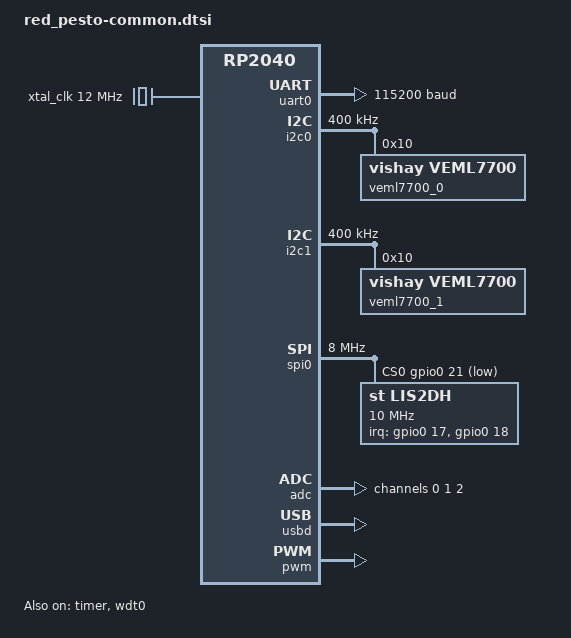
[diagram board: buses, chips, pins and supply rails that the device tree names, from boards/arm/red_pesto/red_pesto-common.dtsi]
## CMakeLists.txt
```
# SPDX-License-Identifier: Apache-2.0

cmake_minimum_required(VERSION 3.20.0)
list(APPEND BOARD_ROOT ${CMAKE_CURRENT_SOURCE_DIR})
find_package(Zephyr REQUIRED HINTS $ENV{ZEPHYR_BASE})
project(red_pesto)

target_sources(app PRIVATE src/main.c)
```

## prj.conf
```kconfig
CONFIG_GPIO=y
CONFIG_I2C=y
CONFIG_SPI=y
CONFIG_SENSOR=y
CONFIG_PWM=y
CONFIG_ADC=y
CONFIG_STDOUT_CONSOLE=y

# debug
CONFIG_DEBUG=y
CONFIG_LOG=y
CONFIG_SENSOR_LOG_LEVEL_DBG=y
CONFIG_CBPRINTF_FP_SUPPORT=y
CONFIG_PWM_LOG_LEVEL_DBG=y
```

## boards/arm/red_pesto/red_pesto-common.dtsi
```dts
/*
 * Copyright (c) 2021 Yonatan Schachter
 *
 * SPDX-License-Identifier: Apache-2.0
 */

#include <freq.h>

#include <rpi_pico/rp2040.dtsi>
#include "red_pesto-pinctrl.dtsi"
#include <zephyr/dt-bindings/pwm/pwm.h>

#include <zephyr/dt-bindings/i2c/i2c.h>


/ {
	chosen {
		zephyr,sram = &sram0;
		zephyr,flash = &flash0;
		zephyr,flash-controller = &ssi;
		zephyr,console = &uart0;
		zephyr,shell-uart = &uart0;
		zephyr,code-partition = &code_partition;
	};

	xtal_clk: xtal-clk {
		compatible = "fixed-clock";
		clock-frequency = <12000000>;
		#clock-cells = <0>;
	};

	aliases {
		watchdog0 = &wdt0;
		veml7700-left = &veml7700_0;
		veml7700-right = &veml7700_1;
	};
};

&flash0 {
	reg = <0x10000000 DT_SIZE_M(2)>;

	partitions {
		compatible = "fixed-partitions";
		#address-cells = <1>;
		#size-cells = <1>;

		/* Reserved memory for the second stage bootloader */
		second_stage_bootloader: partition@0 {
			label = "second_stage_bootloader";
			reg = <0x00000000 0x100>;
			read-only;
		};

		/*
		 * Usable flash. Starts at 0x100, after the bootloader. The partition
		 * size is 2MB minus the 0x100 bytes taken by the bootloader.
		 */
		code_partition: partition@100 {
			label = "code-partition";
			reg = <0x100 (DT_SIZE_M(2) - 0x100)>;
			read-only;
		};
	};
};

&uart0 {
	current-speed = <115200>;
	status = "okay";
	pinctrl-0 = <&uart0_default>;
	pinctrl-names = "default";
};

&gpio0 {
	status = "okay";
};

&i2c0 {
	clock-frequency = <I2C_BITRATE_FAST>;
	status = "okay";
	pinctrl-0 = <&i2c0_rp>;
	pinctrl-names = "default";
	veml7700_0: veml7700_0@10 {
		compatible = "vishay,veml7700";
		reg = <0x10>;
		status = "okay";
	};
};

&i2c1 {
	clock-frequency = <I2C_BITRATE_FAST>;
	status = "okay";
	pinctrl-0 = <&i2c1_rp>;
	pinctrl-names = "default";
	veml7700_1: veml7700_1@10 {
		compatible = "vishay,veml7700";
		reg = <0x10>;
		status = "okay";
	};
};

&spi0 {
	clock-frequency = <DT_FREQ_M(8)>;
	cs-gpios = <&gpio0 21 GPIO_ACTIVE_LOW>;
	status = "okay";
	pinctrl-0 = <&spi0_default>;
	pinctrl-names = "default";
	lis2dh: lis2dh@0 {
		compatible = "st,lis2dh";
		reg = <0>;
		spi-max-frequency = <10000000>;
		spi-cpol;
		spi-cpha;
		irq-gpios = <&gpio0 17 GPIO_ACTIVE_HIGH>, <&gpio0 18 GPIO_ACTIVE_HIGH>;
	};
};

&timer {
	status = "okay";
};

&wdt0 {
	status = "okay";
};

&adc {
	status = "okay";
	pinctrl-0 = <&adc_default>;
	pinctrl-names = "default";
	#address-cells = <1>;
	#size-cells = <0>;

	channel@0 {
		reg = <0>;
		zephyr,gain = "ADC_GAIN_1";
		zephyr,reference = "ADC_REF_INTERNAL";
		zephyr,acquisition-time = <ADC_ACQ_TIME_DEFAULT>;
		zephyr,resolution = <12>;
	};

	channel@1 {
		reg = <1>;
		zephyr,gain = "ADC_GAIN_1";
		zephyr,reference = "ADC_REF_INTERNAL";
		zephyr,acquisition-time = <ADC_ACQ_TIME_DEFAULT>;
		zephyr,resolution = <12>;
	};

	channel@2 {
		reg = <2>;
		zephyr,gain = "ADC_GAIN_1";
		zephyr,reference = "ADC_REF_INTERNAL";
		zephyr,acquisition-time = <ADC_ACQ_TIME_DEFAULT>;
		zephyr,resolution = <12>;
	};
};

zephyr_udc0: &usbd {
	status = "okay";
};

&pwm {
	status = "okay";
	pinctrl-0 = <&pwm_ch6b_default>;
	pinctrl-names = "default";
	divider-frac-6 = <0>;
	divider-int-6 = <16>;
};

&vreg {
	regulator-always-on;
	regulator-allowed-modes = <REGULATOR_RPI_PICO_MODE_NORMAL>;
};

pico_spi: &spi0 {};
```

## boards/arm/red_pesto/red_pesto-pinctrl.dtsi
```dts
/*
 * Copyright (c) 2021, Yonatan Schachter
 * SPDX-License-Identifier: Apache-2.0
 */

#include <zephyr/dt-bindings/pinctrl/rpi-pico-rp2040-pinctrl.h>

&pinctrl {
	uart0_default: uart0_default {
		group1 {
			pinmux = <UART0_TX_P0>;
		};
		group2 {
			pinmux = <UART0_RX_P1>;
			input-enable;
		};
	};

	i2c0_rp: i2c0_rp {
		group1 {
			pinmux = <I2C0_SDA_P24>, <I2C0_SCL_P25>;
			input-enable;
			input-schmitt-enable;
		};
	};

	i2c1_rp: i2c1_rp {
		group1 {
			pinmux = <I2C1_SDA_P14>, <I2C1_SCL_P15>;
			input-enable;
			input-schmitt-enable;
		};
	};

	spi0_default: spi0_default {
		group1 {
			pinmux = <SPI0_SCK_P18>, <SPI0_TX_P19>;
		};
		group2 {
			pinmux = <SPI0_RX_P20>;
			input-enable;
		};
	};

	pwm_ch6b_default: pwm_ch6b_default {
		group1 {
			pinmux = <PWM_6B_P13>;
		};
	};

	adc_default: adc_default {
		group1 {
			pinmux = <ADC_CH0_P26>, <ADC_CH1_P27>, <ADC_CH2_P28>, <ADC_CH3_P29>;
			input-enable;
		};
	};
};
```

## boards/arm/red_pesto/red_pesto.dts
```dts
/*
 * Copyright (c) 2021 Yonatan Schachter
 *
 * SPDX-License-Identifier: Apache-2.0
 */

/dts-v1/;

#include "red_pesto-common.dtsi"
#include <zephyr/dt-bindings/input/input-event-codes.h>

/ {
	leds {
		compatible = "gpio-leds";
		led_green: led_green {
			gpios = <&gpio0 2 GPIO_ACTIVE_HIGH>;
			label = "LED Green";
		};
		led_red: led_red {
			gpios = <&gpio0 3 GPIO_ACTIVE_HIGH>;
			label = "LED Red";
		};
	};

	buttons {
		compatible = "gpio-keys";
		button0: button_0 {
			gpios = <&gpio0 9 (GPIO_PULL_UP | GPIO_ACTIVE_LOW)>;
			label = "Push Button 1";
			zephyr,code = <INPUT_KEY_0>;
		};
	};

	pwm_leds {
	compatible = "pwm-leds";
		pwm_led0: pwm_led_0 {
			status = "okay";
			pwms = <&pwm 13 PWM_MSEC(20) PWM_POLARITY_NORMAL>;
			label = "PWM_LED";
		};
	};

	vbatt: vbatt {
		compatible = "voltage-divider";
		io-channels = <&adc 2>;
		output-ohms = <16000>;
		full-ohms = <(15000 + 16000)>;
	};

	aliases {
		led-green = &led_green;
		led-red = &led_red;
		pwm-led0 = &pwm_led0;
		sw0 = &button0;
	};

	zephyr,user {
		io-channels = <&adc 0>, <&adc 1>;
	};
};
```

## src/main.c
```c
/*
 * Copyright (c) 2016 Intel Corporation
 *
 * SPDX-License-Identifier: Apache-2.0
 */

#include <zephyr/kernel.h>
#include <zephyr/device.h>
#include <zephyr/drivers/gpio.h>
#include <zephyr/drivers/sensor.h>
#include <zephyr/drivers/pwm.h>
#include <zephyr/drivers/adc.h>
#include <zephyr/drivers/adc/voltage_divider.h>

/* 1000 msec = 1 sec */
#define SLEEP_TIME_MS   1000

/* The devicetree node identifiers*/
#define LED_GREEN_NODE DT_ALIAS(led_green)
#define LED_RED_NODE DT_ALIAS(led_red)
#define VEML7700_LEFT_NODE DT_ALIAS(veml7700_left)
#define VEML7700_RIGHT_NODE DT_ALIAS(veml7700_right)
#define LIS2DH_NODE DT_NODELABEL(lis2dh)
#define PWM_LED_NODE DT_ALIAS(pwm_led0)
#define VBAT_DIVIDER_NODE DT_NODELABEL(vbatt)
#define SW0_NODE DT_ALIAS(sw0)

/*
 * A build error on this line means your board is unsupported.
 * See the sample documentation for information on how to fix this.
 */
static const struct gpio_dt_spec led_green = GPIO_DT_SPEC_GET(LED_GREEN_NODE, gpios);
static const struct gpio_dt_spec led_red = GPIO_DT_SPEC_GET(LED_RED_NODE, gpios);
const struct device *const veml7700_left = DEVICE_DT_GET(VEML7700_LEFT_NODE);
const struct device *const veml7700_right = DEVICE_DT_GET(VEML7700_RIGHT_NODE);
const struct device *const lis2dh = DEVICE_DT_GET(LIS2DH_NODE);
static const struct pwm_dt_spec pwm_led0 = PWM_DT_SPEC_GET(PWM_LED_NODE);
static const struct voltage_divider_dt_spec adc_vbat = VOLTAGE_DIVIDER_DT_SPEC_GET(VBAT_DIVIDER_NODE);
static const struct adc_dt_spec adc_cc1 = ADC_DT_SPEC_GET_BY_IDX(DT_PATH(zephyr_user), 0);
static const struct adc_dt_spec adc_cc2 = ADC_DT_SPEC_GET_BY_IDX(DT_PATH(zephyr_user), 1);
static const struct gpio_dt_spec button = GPIO_DT_SPEC_GET_OR(SW0_NODE, gpios, {0});
static struct gpio_callback button_cb_data;

void button_pressed(const struct device *dev, struct gpio_callback *cb, uint32_t pins)
{
	printk("Button pressed at %" PRIu32 "\n", k_cycle_get_32());
}

int meas_adc_v(const struct adc_dt_spec *spec, int32_t *v)
{
	int ret;
	int32_t sample_buffer = 0;

	/* Structure defining an ADC sampling sequence */
	struct adc_sequence sequence = {
		.buffer = &sample_buffer,
		/* buffer size in bytes, not number of samples */
		.buffer_size = sizeof(sample_buffer),
	};
	adc_sequence_init_dt(spec, &sequence);

	ret = adc_read_dt(spec, &sequence);
	if (ret != 0) {
		return ret;
	}
	*v = sample_buffer;
	ret = adc_raw_to_millivolts_dt(spec, v);
	if (ret != 0) {
		return ret;
	}
	return 0;
}

int meas_divider_v(const struct voltage_divider_dt_spec *spec, int32_t *v)
{
	int ret;
	meas_adc_v(&spec->port, v);
	ret = voltage_divider_scale_dt(spec, v);
	if (ret != 0) {
		return ret;
	}
	return 0;
}

int main(void)
{
	int ret;

	ret = pwm_set_dt(&pwm_led0, PWM_KHZ(20), PWM_KHZ(20)/20U);
		if (ret < 0) {
		return 0;
	}

	if (!gpio_is_ready_dt(&led_green) || !gpio_is_ready_dt(&led_red)) {
		return 0;
	}

	ret = gpio_pin_configure_dt(&led_green, GPIO_OUTPUT_ACTIVE);
	ret = gpio_pin_configure_dt(&led_red, GPIO_OUTPUT_INACTIVE);
	if (ret < 0) {
		return 0;
	}

	ret = gpio_pin_configure_dt(&button, GPIO_INPUT);
	ret = gpio_pin_interrupt_configure_dt(&button, GPIO_INT_EDGE_TO_ACTIVE);
	gpio_init_callback(&button_cb_data, button_pressed, BIT(button.pin));
	gpio_add_callback(button.port, &button_cb_data);

	ret = adc_channel_setup_dt(&adc_vbat.port);
	ret = adc_channel_setup_dt(&adc_cc1);
	ret = adc_channel_setup_dt(&adc_cc2);

	struct sensor_value val;
	struct sensor_value accel[3];
	int32_t bat_volt, cc1_volt, cc2_volt;
	while (1) {
		meas_divider_v(&adc_vbat, &bat_volt);
		printk("VBAT: %" PRId32 "mV\n", bat_volt);
		meas_adc_v(&adc_cc1, &cc1_volt);
		printk("CC1: %" PRId32 "mV\n", cc1_volt);
		meas_adc_v(&adc_cc2, &cc2_volt);
		printk("CC2: %" PRId32 "mV\n", cc2_volt);
		ret = sensor_sample_fetch(veml7700_left);
		ret = sensor_channel_get(veml7700_left, SENSOR_CHAN_LIGHT, &val);
		printk("VEML770-Left: %d\n", val.val1);
		ret = sensor_sample_fetch(veml7700_right);
		ret = sensor_channel_get(veml7700_right, SENSOR_CHAN_LIGHT, &val);
		printk("VEML770-Right: %d\n", val.val1);
		ret = sensor_sample_fetch(lis2dh);
		ret = sensor_channel_get(lis2dh, SENSOR_CHAN_ACCEL_XYZ, accel);
		printk("LIS2DH: %.2f %.2f %.2f\n", accel[0].val1 + accel[0].val2*0.000001,
			accel[1].val1 + accel[1].val2*0.000001,
			accel[2].val1 + accel[2].val2*0.000001);
		ret = gpio_pin_toggle_dt(&led_green);
		ret = gpio_pin_toggle_dt(&led_red);
		if (ret < 0) {
			return 0;
		}
		k_msleep(SLEEP_TIME_MS);
	}
	return 0;
}
```

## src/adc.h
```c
#pragma once
#include "hardware/adc.h"
#include "board.h"

void red_pesto_adc_init(){
  adc_init();
  adc_gpio_init(CC1_PIN);
  adc_gpio_init(CC2_PIN);
  adc_gpio_init(VBAT_PIN);
}
```

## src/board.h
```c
#pragma once
#define SPI_MOSI_PIN 19
#define SPI_MISO_PIN 20
#define SPI_CLK_PIN 18
#define SPI_CS_PIN 21

#define INT1_PIN 17
#define INT2_PIN 16
#define LED_GREEN_PIN 2
#define LED_RED_PIN 3
#define LED_POWER_PIN 13
#define BTN_PIN 9

#define I2C0_SDA_PIN 24
#define I2C0_SCL_PIN 25
#define CHRG_EN_PIN 10
#define STATUS_PIN 16
#define BQ_INT_PIN 11

#define I2C1_SDA_PIN 14
#define I2C1_SCL_PIN 15

#define CC1_PIN 26
#define CC2_PIN 27
#define CC1_ADC 0
#define CC2_ADC 1
#define VBAT_PIN 28
#define VBAT_ADC 2
```

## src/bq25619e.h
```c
#pragma once
#include "hardware/i2c.h"
#include "bq256xx_charger.h"
#include "cli.h"

#define VRD_USB_MIN 0.25f
#define VRD_USB_MAX 0.61f
#define VRD_15_MIN 0.7f
#define VRD_15_MAX 1.16f
#define VRD_30_MIN 1.31f
#define VRD_30_MAX 2.04f
#define VRA_MAX 0.15f

struct bq256xx_device bq25619e = {
  .i2c = i2c0,
  .dev_addr = 0x6A,
};

void red_pesto_bq25619e_init(){
  bq256xx_charger_reset(&bq25619e);
  bq256xx_hw_init(&bq25619e);
  bq256xx_get_state(&bq25619e, &bq25619e.state);
}

void bq_int_handler(){
  struct bq256xx_state tmp_state;
  bq256xx_get_state(&bq25619e, &tmp_state);
  if(tmp_state.online){
    if(!bq25619e.state.online){
      DEBUG_PRINT("Charging cable connected");
      const float conversion_factor =  3.3f / (1 << 12);
      adc_select_input(CC1_ADC);
      float cc1 = adc_read() * conversion_factor;
      adc_select_input(CC2_ADC);
      float cc2 = adc_read() * conversion_factor;
      float cc = cc1 > cc2 ? cc1 : cc2;
      if ((cc > VRD_USB_MIN) && (cc < VRD_USB_MAX)) {
        DEBUG_PRINT("vRd-USB (500mA)");
        bq256xx_set_input_curr_lim(&bq25619e, 500000);
      } else if ((cc > VRD_15_MIN) && (cc < VRD_15_MAX)) {
        DEBUG_PRINT("vRd-1.5");
        bq256xx_set_input_curr_lim(&bq25619e, 1500000);
      } else if ((cc > VRD_30_MIN) && (cc < VRD_30_MAX)) {
        DEBUG_PRINT("vRd-3.0");
        bq256xx_set_input_curr_lim(&bq25619e, 3000000);
      }
    }
    switch (tmp_state.chrg_stat)
    {
      case BQ256XX_CHRG_STAT_NOT_CHRGING:
        DEBUG_PRINT("Not charging");
        break;
      case BQ256XX_CHRG_STAT_PRECHRGING:
        DEBUG_PRINT("Precharging");
        break;
      case BQ256XX_CHRG_STAT_FAST_CHRGING:
        DEBUG_PRINT("Fast charging");
        break;
      case BQ256XX_CHRG_STAT_CHRG_TERM:
        DEBUG_PRINT("Charging termination");
        break;
    }
    const float conversion_factor = 6.4f / (1 << 12);
    adc_select_input(VBAT_ADC);
    DEBUG_PRINT("VBAT: %.2f V\n", adc_read() * conversion_factor);
  }else{
    if(bq25619e.state.online){
      DEBUG_PRINT("Charging cable disconnected");
    }
  }
  bq25619e.state = tmp_state;
}

void bq_enter_ship_mode(){
  bq256xx_set_ship_mode(&bq25619e);
}
```

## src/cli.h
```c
#pragma once
#include <stdarg.h>

#define EMBEDDED_CLI_IMPL
#include "embedded_cli.h"

#define CLI_PRINT_BUFFER_SIZE 512

static EmbeddedCli *cli;

void red_pesto_init_cli();
EmbeddedCli *getCliPointer();
void cli_printf(const char *format, ...);
static void writeCharToCli(EmbeddedCli *embeddedCli, char c);

#ifdef ENABLE_DEBUG_OUTPUT
#  define DEBUG_PRINT(msg, ...) cli_printf("[DEBUG] [%6.6f] " msg, to_us_since_boot(get_absolute_time())/1000000.0f, ##__VA_ARGS__);
#else
#  define DEBUG_PRINT(msg, ...)
#endif

void red_pesto_init_cli(){
    cli = embeddedCliNewDefault();
    void writeChar(EmbeddedCli *embeddedCli, char c);
    cli->writeChar = writeCharToCli;
    char c = (char)getchar_timeout_us(0);
    embeddedCliReceiveChar(cli, c);
}

EmbeddedCli *getCliPointer() {
    return cli;
}

// Function to encapsulate the 'embeddedCliPrint()' call with print formatting arguments (act like printf(), but keeps cursor at correct location).
// The 'embeddedCliPrint()' function does already add a linebreak ('\r\n') to the end of the print statement, so no need to add it yourself.
void cli_printf(const char *format, ...) {
    // Create a buffer to store the formatted string
    char buffer[CLI_PRINT_BUFFER_SIZE];

    // Format the string using snprintf
    va_list args;
    va_start(args, format);
    int length = vsnprintf(buffer, sizeof(buffer), format, args);
    va_end(args);

    // Check if string fitted in buffer else print error to stderr
    if (length < 0) {
        printf("Error formatting the string\r\n");
        return;
    }

    // Call embeddedCliPrint with the formatted string
    embeddedCliPrint(getCliPointer(), buffer);
}

static void writeCharToCli(EmbeddedCli *embeddedCli, char c) {
    putchar_raw(c);
}
```

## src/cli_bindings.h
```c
#pragma once
#include "pico/stdlib.h"
#include "pico/bootrom.h"

#include "cli.h"
#include "veml7700.h"
#include "bq25619e.h"

static void reboot2bootloader(EmbeddedCli *cli, char *args, void *context);
static void ship_mode(EmbeddedCli *cli, char *args, void *context);
static void get_als(EmbeddedCli *cli, char *args, void *context);
void red_pesto_cli_bindings(EmbeddedCli *embeddedCli);

static void reboot2bootloader(EmbeddedCli *cli, char *args, void *context) {
    reset_usb_boot(0, 0);
}

static void ship_mode(EmbeddedCli *cli, char *args, void *context) {
    bq_enter_ship_mode();
}

static void get_als(EmbeddedCli *cli, char *args, void *context) {
    cli_printf("%d", red_pesto_veml7700_get_average());
}

void red_pesto_cli_bindings(EmbeddedCli *embeddedCli){
  CliCommandBinding dfu_binding =
  {
      "usb_boot",
      "Reboot the device into BOOTSEL mode",
      false,
      NULL,
      reboot2bootloader
  };

  CliCommandBinding ship_binding =
  {
      "ship_mode",
      "Put bq25619e charger into ship mode",
      false,
      NULL,
      ship_mode
  };

  CliCommandBinding als_binding =
  {
      "get_als_data",
      "Get VEML7700 sensor data",
      false,
      NULL,
      get_als
  };
  embeddedCliAddBinding(embeddedCli, dfu_binding);
  embeddedCliAddBinding(embeddedCli, ship_binding);
  embeddedCliAddBinding(embeddedCli, als_binding);
}
```

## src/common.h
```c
#pragma once
#include "cli.h"

#ifdef ENABLE_DEBUG_OUTPUT
#  define DEBUG_PRINT(msg, ...) cli_printf("[DEBUG] [%6.6f] " msg, to_us_since_boot(get_absolute_time())/1000000.0f, ##__VA_ARGS__);
#else
#  define DEBUG_PRINT(msg, ...) 
#endif
```

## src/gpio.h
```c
#pragma once
#include "pico/stdlib.h"
#include "hardware/spi.h"

#include "board.h"

void red_pesto_gpio_init(gpio_irq_callback_t callback){
  spi_init(spi0, 8000 * 1000);
  spi_set_format(spi0,  // SPI instance
                 8,     // Number of bits per transfer
                 1,     // Polarity (CPOL)
                 1,     // Phase (CPHA)
                 SPI_MSB_FIRST);
  gpio_set_function(SPI_MISO_PIN, GPIO_FUNC_SPI);
  gpio_set_function(SPI_CLK_PIN, GPIO_FUNC_SPI);
  gpio_set_function(SPI_MOSI_PIN, GPIO_FUNC_SPI);
  gpio_pull_up(SPI_CS_PIN);

  gpio_init(LED_GREEN_PIN);
  gpio_set_dir(LED_GREEN_PIN, GPIO_OUT);
  gpio_put(LED_GREEN_PIN, 0);

  gpio_init(LED_RED_PIN);
  gpio_set_dir(LED_RED_PIN, GPIO_OUT);
  gpio_put(LED_RED_PIN, 0);

  // Chip select is active-low, so we'll initialise it to a driven-high state
  gpio_init(SPI_CS_PIN);
  gpio_set_dir(SPI_CS_PIN, GPIO_OUT);
  gpio_put(SPI_CS_PIN, 1);

  gpio_init(INT1_PIN);
  gpio_set_dir(INT1_PIN, GPIO_IN);
  gpio_pull_up(INT1_PIN);
  gpio_set_irq_enabled_with_callback(INT1_PIN, GPIO_IRQ_EDGE_RISE, true,
                                     callback);

  gpio_init(INT2_PIN);
  gpio_set_dir(INT2_PIN, GPIO_IN);
  gpio_pull_up(INT2_PIN);
  gpio_set_irq_enabled_with_callback(
      INT2_PIN, GPIO_IRQ_EDGE_RISE | GPIO_IRQ_EDGE_FALL, true, callback);

  gpio_init(BQ_INT_PIN);
  gpio_set_dir(BQ_INT_PIN, GPIO_IN);
  gpio_pull_up(BQ_INT_PIN);
  gpio_set_irq_enabled_with_callback(BQ_INT_PIN, GPIO_IRQ_EDGE_RISE, true,
                                     callback);

  gpio_init(CHRG_EN_PIN);
  gpio_set_dir(CHRG_EN_PIN, GPIO_OUT);
  gpio_put(CHRG_EN_PIN, false);

  gpio_init(BTN_PIN);
  gpio_set_dir(BTN_PIN, GPIO_IN);
  gpio_set_irq_enabled_with_callback(BTN_PIN, GPIO_IRQ_EDGE_RISE | GPIO_IRQ_EDGE_FALL, true,
                                      callback);
}
```

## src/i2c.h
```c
#pragma once
#include "pico/stdlib.h"
#include "hardware/i2c.h"

#include "board.h"

void red_pesto_i2c_init(){
  i2c_init(i2c0, 100 * 1000);
  gpio_set_function(I2C0_SDA_PIN, GPIO_FUNC_I2C);
  gpio_set_function(I2C0_SCL_PIN, GPIO_FUNC_I2C);
  gpio_pull_up(I2C0_SDA_PIN);
  gpio_pull_up(I2C0_SCL_PIN);

  i2c_init(i2c1, 100 * 1000);
  gpio_set_function(I2C1_SDA_PIN, GPIO_FUNC_I2C);
  gpio_set_function(I2C1_SCL_PIN, GPIO_FUNC_I2C);
  gpio_pull_up(I2C1_SDA_PIN);
  gpio_pull_up(I2C1_SCL_PIN);
}
```

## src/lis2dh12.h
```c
#pragma once
#include "pico/stdlib.h"
#include "hardware/spi.h"

#include "board.h"
#include "lis2dh12-pid/lis2dh12_reg.h"
#include "cli.h"

#define BOOT_TIME 5  // ms

/* Self test limits converted from 10bit right-aligned to 16bit left-aligned. */
#define MIN_ST_LIMIT_LSb 17 * 64
#define MAX_ST_LIMIT_LSb 360 * 64

static stmdev_ctx_t dev_ctx; /** xxxxxxx is the used part number **/

static inline void cs_select() {
  gpio_put(SPI_CS_PIN, 0);  // Active low
}

static inline void cs_deselect() { gpio_put(SPI_CS_PIN, 1); }

int32_t platform_write(void *handle, uint8_t Reg, const uint8_t *Bufp,
                       uint16_t len) {
  cs_select();
  uint8_t reg = Reg & 0x7f;
  reg |= 0x40;
  spi_write_blocking(handle, &reg, 1);
  spi_write_blocking(handle, Bufp, len);
  cs_deselect();
  return 0;
}

int32_t platform_read(void *handle, uint8_t Reg, uint8_t *Bufp, uint16_t len) {
  cs_select();
  uint8_t reg = Reg;
  reg |= 0xC0;
  spi_write_blocking(handle, &reg, 1);
  spi_read_blocking(handle, 0, Bufp, len);
  cs_deselect();
  return 0;
}
void platform_delay(uint32_t millisec) { busy_wait_ms(millisec); }

//FIXME red_pesto_lis2dh12_init() not working(lis2dh12 ZYXDA INT1 not raising) in Release builds, O0 level as a workaround
#pragma GCC push_options
#pragma GCC optimize ("O0")
void red_pesto_lis2dh12_init(){
  lis2dh12_reg_t reg;
  dev_ctx.write_reg = platform_write;
  dev_ctx.read_reg = platform_read;
  dev_ctx.mdelay = platform_delay;
  dev_ctx.handle = spi0;

  /* Wait sensor boot time */
  platform_delay(BOOT_TIME);
  /* Check device ID */
  lis2dh12_device_id_get(&dev_ctx, &reg.byte);
  lis2dh12_device_id_get(&dev_ctx, &reg.byte);
  if (reg.byte == LIS2DH12_ID) {
    DEBUG_PRINT("LIS2DH12 detected");
  } else {
    DEBUG_PRINT("LIS2DH12 not found!");
  }

  lis2dh12_ctrl_reg3_t ctrl_reg3;
  ctrl_reg3.i1_zyxda = 1;
  lis2dh12_pin_int1_config_set(&dev_ctx, &ctrl_reg3);

  lis2dh12_hp_t high_pass = LIS2DH12_DISC_FROM_INT_GENERATOR;
  lis2dh12_high_pass_int_conf_set(&dev_ctx, high_pass);

  lis2dh12_ctrl_reg6_t ctrl_reg6;
  ctrl_reg6.i2_act = 1;
  ctrl_reg6.int_polarity = 0;
  lis2dh12_pin_int2_config_set(&dev_ctx, &ctrl_reg6);
  lis2dh12_act_threshold_set(&dev_ctx, 10);
  lis2dh12_act_timeout_set(&dev_ctx, 10);

  /* Enable Block Data Update. */
  lis2dh12_block_data_update_set(&dev_ctx, PROPERTY_ENABLE);
  /* Set full scale*/
  lis2dh12_full_scale_set(&dev_ctx, LIS2DH12_2g);
  /* Set device mode. */
  lis2dh12_operating_mode_set(&dev_ctx, LIS2DH12_NM_10bit);
  /* Set Output Data Rate*/
  lis2dh12_data_rate_set(&dev_ctx, LIS2DH12_ODR_25Hz);

  int16_t data_raw_acceleration[3];
  lis2dh12_acceleration_raw_get(&dev_ctx, data_raw_acceleration);
}
#pragma GCC pop_options
```

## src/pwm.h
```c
#pragma once
#include "pico/stdlib.h"
#include "hardware/pwm.h"

#include "board.h"

void red_pesto_pwm_init(){
  gpio_set_function(LED_POWER_PIN, GPIO_FUNC_PWM);

  uint slice_num = pwm_gpio_to_slice_num(LED_POWER_PIN);
  pwm_config config = pwm_get_default_config();
  pwm_init(slice_num, &config, true);
  pwm_set_wrap(slice_num, 6400);
  pwm_set_gpio_level(LED_POWER_PIN, 0);
}
```

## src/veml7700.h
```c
#pragma once
#include "hardware/i2c.h"

#define BIT(nr) (1 << (nr))

#define GENMASK(h, l) ~(~0 << (h - l + 1)) << l

#define VELM7700_DEV_ADR 0x10

// Gain selection
#define ALS_GAIN_MASK GENMASK(12, 11)
#define ALS_GAIN_BIT_SHIFT 11
#define ALS_GAIN_1 0b00
#define ALS_GAIN_2 0b01
#define ALS_GAIN_0_25 0b10
#define ALS_GAIN_0_125 0b11

// ALS integration time setting
#define ALS_IT_MASK GENMASK(9, 6)
#define ALS_IT_BIT_SHIFT 6
#define ALS_IT_25MS 0b1100
#define ALS_IT_50MS 0b1000
#define ALS_IT_100MS 0b0000
#define ALS_IT_200MS 0b0001
#define ALS_IT_400MS 0b0010
#define ALS_IT_800MS 0b0011

// ALS persistence protect number setting
#define ALS_PERS_MASK GENMASK(5, 4)
#define ALS_PERS_BIT_SHIFT 4
#define ALS_PERS_1 0b00
#define ALS_PERS_2 0b01
#define ALS_PERS_4 0b10
#define ALS_PERS_8 0b11

// ALS interrupt enable setting
#define ALS_INT_EN_MASK BIT(1)
#define ALS_INT_EN_BIT_SHIFT 1
#define ALS_INT_EN_DISABLE 0
#define ALS_INT_EN_ENABLE 1

// ALS shut down setting
#define ALS_SD_MASK BIT(0)
#define ALS_SD_BIT_SHIFT 0
#define ALS_SD_POWERON 0
#define ALS_SD_SHUTDOWN 1

void veml7700_reg_write(i2c_inst_t *i2c, uint8_t reg_addr, uint16_t data) {
  i2c_write_blocking(i2c, VELM7700_DEV_ADR, &reg_addr, 1, true);
  i2c_write_blocking(i2c, VELM7700_DEV_ADR, (uint8_t *)&data, 2, false);
}

uint16_t veml7700_reg_read(i2c_inst_t *i2c, uint8_t reg_addr) {
  uint16_t buf;
  i2c_write_blocking(i2c, VELM7700_DEV_ADR, &reg_addr, 1, true);
  i2c_read_blocking(i2c, VELM7700_DEV_ADR, (uint8_t *)&buf, 2, false);
  return buf;
}

void veml7700_init(i2c_inst_t *i2c) {
  veml7700_reg_write(i2c, 0x00,
                     0 | ALS_GAIN_1 << ALS_GAIN_BIT_SHIFT |
                         ALS_IT_100MS << ALS_IT_BIT_SHIFT |
                         ALS_PERS_1 << ALS_PERS_BIT_SHIFT |
                         ALS_INT_EN_DISABLE << ALS_INT_EN_BIT_SHIFT |
                         ALS_SD_POWERON << ALS_SD_BIT_SHIFT);
}

uint16_t veml7700_read_als_data(i2c_inst_t *i2c) {
  return veml7700_reg_read(i2c, 0x04);
}

void red_pesto_veml7700_init(){
  veml7700_init(i2c0);
  veml7700_init(i2c1);
}

uint16_t red_pesto_veml7700_get_average(){
  uint16_t als0 = veml7700_read_als_data(i2c0);
  uint16_t als1 = veml7700_read_als_data(i2c1);
  return (uint16_t)((als0 + als1)/2);
}
```
